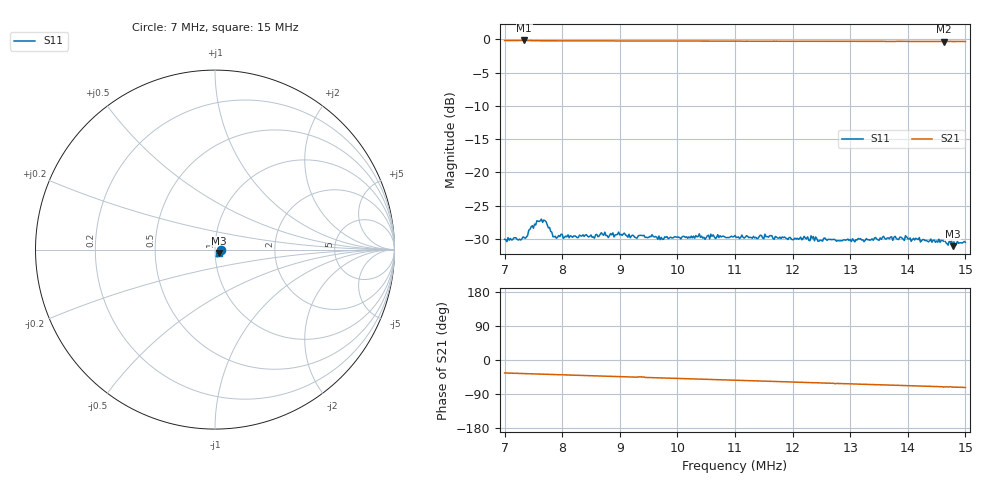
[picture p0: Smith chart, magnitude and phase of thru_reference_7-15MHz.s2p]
! Measured S11/S21; S12/S22 are placeholders, NOT measurements. Calibration unverified.
! [Saver CAL applied] C:\Users\aknya\MyProjects\rf-simulator\calibration2.cal | Ideal standards assumed | Input: NanoVNA F V2 profile | COM3 | 2026-10-04T11:19:06.8477118-04:00 | device calibration unverified
# HZ S RI R 50
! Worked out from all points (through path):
!   401 points, 7 MHz to 15 MHz, reference 50 ohm
!   highest |S21| = -0.19 dB at 7.34 MHz (marker M1); lowest = -0.4 dB at 14.62 MHz (marker M2)
!   group delay of S21, straight-line fit = 13.3 ns
!   lowest |S11| = -31.1 dB at 14.78 MHz (marker M3), VSWR 1.06, Z = 52.1 - j1.93 ohm
!   |S11| at or under -10 dB: start of sweep to end of sweep
!   S12 and S22 are empty: the file has one direction only
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7000000  0.0314 -0.00192  0.8086 -0.5501  0 0  0 0
7340000  0.0325 -0.00144  0.7933 -0.5733  0 0  0 0
7440000  0.0374 0.00339  0.7869 -0.579  0 0  0 0
7540000  0.011 -0.0387  0.7831 -0.581  0 0  0 0
7600000  0.0229 -0.0363  0.7784 -0.5853  0 0  0 0
7720000  0.0374 -0.0206  0.7702 -0.5931  0 0  0 0
7880000  0.0328 -0.00467  0.7621 -0.6048  0 0  0 0
8340000  0.0323 -0.008  0.737 -0.6329  0 0  0 0
8520000  0.0318 -0.00736  0.7277 -0.6445  0 0  0 0
9020000  0.0337 -0.00672  0.6985 -0.6737  0 0  0 0
9280000  0.0314 -0.00786  0.6835 -0.688  0 0  0 0
9360000  0.0329 -0.00762  0.6912 -0.6828  0 0  0 0
9680000  0.0317 -0.0104  0.6595 -0.7106  0 0  0 0
1.1e7  0.031 -0.0132  0.5762 -0.7766  0 0  0 0
1.234e7  0.027 -0.0173  0.4864 -0.8339  0 0  0 0
1.248e7  0.0268 -0.0157  0.4769 -0.8393  0 0  0 0
1.258e7  0.0269 -0.0163  0.4682 -0.8428  0 0  0 0
1.28e7  0.0252 -0.0176  0.4535 -0.8503  0 0  0 0
1.368e7  0.0262 -0.0181  0.3887 -0.8816  0 0  0 0
1.462e7  0.023 -0.0201  0.3023 -0.9112  0 0  0 0
1.478e7  0.021 -0.0185  0.3067 -0.9119  0 0  0 0
1.5e7  0.0223 -0.0199  0.2888 -0.9171  0 0  0 0
